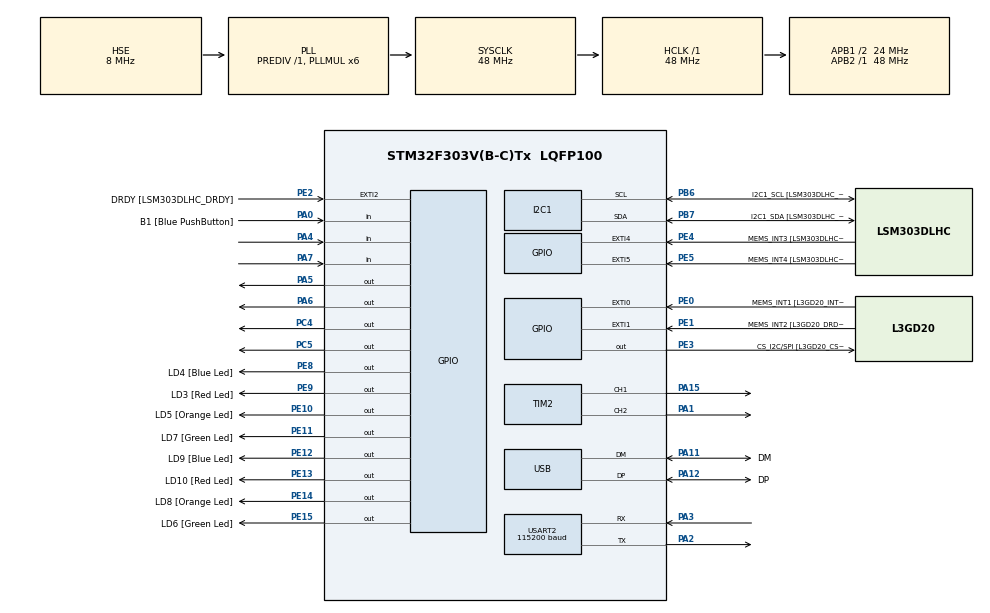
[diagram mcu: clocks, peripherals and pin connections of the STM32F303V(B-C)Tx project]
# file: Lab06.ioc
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I2C1.Timing=0x00201D2B
I2C1.Timing-I2C=0x2000090E
Mcu.Family=STM32F3
Mcu.Name=STM32F303V(B-C)Tx
Mcu.Package=LQFP100
NVIC.PriorityGroup=NVIC_PRIORITYGROUP_0
PA0.GPIO_Label=B1 [Blue PushButton]
PA0.Signal=GPIO_Input
PA1.Signal=S_TIM2_CH2
PA11.GPIO_Label=DM
PA11.Mode=Device
PA11.Signal=USB_DM
PA12.GPIO_Label=DP
PA12.Mode=Device
PA12.Signal=USB_DP
PA13.GPIO_Label=SWDIO
PA13.Mode=Serial_Wire
PA13.Signal=SYS_JTMS-SWDIO
PA14.GPIO_Label=SWCLK
PA14.Mode=Serial_Wire
PA14.Signal=SYS_JTCK-SWCLK
PA15.Signal=S_TIM2_CH1_ETR
PA2.Mode=Asynchronous
PA2.Signal=USART2_TX
PA3.Mode=Asynchronous
PA3.Signal=USART2_RX
PA4.GPIO_PuPd=GPIO_PULLUP
PA4.Signal=GPIO_Input
PA5.Signal=GPIO_Output
PA6.Signal=GPIO_Output
PA7.GPIO_PuPd=GPIO_PULLUP
PA7.Signal=GPIO_Input
PB3.GPIO_Label=SWO
PB3.Signal=SYS_JTDO-TRACESWO
PB6.GPIO_Label=I2C1_SCL [LSM303DLHC_SCL]
PB6.GPIO_Pu=GPIO_PULLUP
PB6.Mode=I2C
PB6.Signal=I2C1_SCL
PB7.GPIO_Label=I2C1_SDA [LSM303DLHC_SDA]
PB7.GPIO_Pu=GPIO_PULLUP
PB7.Mode=I2C
PB7.Signal=I2C1_SDA
PC14-OSC32_IN.GPIO_Label=OSC32_IN
PC14-OSC32_IN.Signal=RCC_OSC32_IN
PC15-OSC32_OUT.GPIO_Label=OSC32_OUT
PC15-OSC32_OUT.Signal=RCC_OSC32_OUT
PC4.Signal=GPIO_Output
PC5.Signal=GPIO_Output
PE0.GPIO_Label=MEMS_INT1 [L3GD20_INT1]
PE0.GPIO_ModeDefaultEXTI=GPIO_MODE_EVT_RISING
PE0.Signal=GPXTI0
PE1.GPIO_Label=MEMS_INT2 [L3GD20_DRDY/INT2]
PE1.GPIO_ModeDefaultEXTI=GPIO_MODE_EVT_RISING
PE1.Signal=GPXTI1
PE10.GPIO_Label=LD5 [Orange Led]
PE10.Signal=GPIO_Output
PE11.GPIO_Label=LD7 [Green Led]
PE11.Signal=GPIO_Output
PE12.GPIO_Label=LD9 [Blue Led]
PE12.Signal=GPIO_Output
PE13.GPIO_Label=LD10 [Red Led]
PE13.Signal=GPIO_Output
PE14.GPIO_Label=LD8 [Orange Led]
PE14.Signal=GPIO_Output
PE15.GPIO_Label=LD6 [Green Led]
PE15.Signal=GPIO_Output
PE2.GPIO_Label=DRDY [LSM303DLHC_DRDY]
PE2.GPIO_ModeDefaultEXTI=GPIO_MODE_EVT_RISING
PE2.Signal=GPXTI2
PE3.GPIO_Label=CS_I2C/SPI [L3GD20_CS_I2C/SPI]
PE3.Signal=GPIO_Output
PE4.GPIO_Label=MEMS_INT3 [LSM303DLHC_INT1]
PE4.GPIO_ModeDefaultEXTI=GPIO_MODE_EVT_RISING
PE4.Signal=GPXTI4
PE5.GPIO_Label=MEMS_INT4 [LSM303DLHC_INT2]
PE5.GPIO_ModeDefaultEXTI=GPIO_MODE_EVT_RISING
PE5.Signal=GPXTI5
PE8.GPIO_Label=LD4 [Blue Led]
PE8.Signal=GPIO_Output
PE9.GPIO_Label=LD3 [Red Led]
PE9.Signal=GPIO_Output
PF0-OSC_IN.GPIO_Label=OSC_IN
PF0-OSC_IN.Mode=HSE-External-Clock-Source
PF0-OSC_IN.Signal=RCC_OSC_IN
PF1-OSC_OUT.GPIO_Label=OSC_OUT
PF1-OSC_OUT.Signal=RCC_OSC_OUT
ProjectManager.HeapSize=0x200
ProjectManager.StackSize=0x400
ProjectManager.TargetToolchain=CMake
RCC.AHBFreq_Value=48000000
RCC.APB1CLKDivider=RCC_HCLK_DIV2
RCC.APB1Freq_Value=24000000
RCC.APB1TimFreq_Value=48000000
RCC.APB2Freq_Value=48000000
RCC.APB2TimFreq_Value=48000000
RCC.CortexFreq_Value=48000000
RCC.HCLKFreq_Value=48000000
RCC.HSE_VALUE=8000000
RCC.HSI_VALUE=8000000
RCC.LSE_VALUE=32768
RCC.PLLMUL=RCC_PLL_MUL6
RCC.SYSCLKFreq_VALUE=48000000
RCC.SYSCLKSourceVirtual=RCC_SYSCLKSOURCE_PLLCLK
RCC.USBFreq_Value=48000000
SH.S_TIM2_CH1_ETR.0=TIM2_CH1,PWM Generation1 CH1
SH.S_TIM2_CH2.0=TIM2_CH2,PWM Generation2 CH2
TIM2.Channel-PWM\ Generation1\ CH1=TIM_CHANNEL_1
TIM2.Channel-PWM\ Generation2\ CH2=TIM_CHANNEL_2
TIM3.Prescaler=47
USART2.BaudRate=115200
USART2.VirtualMode-Asynchronous=VM_ASYNC
VP_TIM3_VS_ClockSourceINT.Mode=Internal
board=STM32F3DISCOVERY

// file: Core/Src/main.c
/* USER CODE BEGIN Header */
/**
  ******************************************************************************
  * @file           : main.c
  * @brief          : Main program body
  ******************************************************************************
  * @attention
  *
  * Copyright (c) 2026 STMicroelectronics.
  * All rights reserved.
  *
  * This software is licensed under terms that can be found in the LICENSE file
  * in the root directory of this software component.
  * If no LICENSE file comes with this software, it is provided AS-IS.
  *
  ******************************************************************************
  */
/* USER CODE END Header */
#include "main.h"

/* USER CODE BEGIN Includes */
#include "stdio.h"
/* USER CODE END Includes */

/* USER CODE BEGIN PD */
#define PPR 20
/* USER CODE END PD */

I2C_HandleTypeDef hi2c1;

TIM_HandleTypeDef htim2;
TIM_HandleTypeDef htim3;

UART_HandleTypeDef huart2;

PCD_HandleTypeDef hpcd_USB_FS;

/* USER CODE BEGIN PV */

/* ============================================================
   TASK 4: Input Capture Variables
   ============================================================ */
volatile uint32_t ic_val1       = 0;   // First captured timer value
volatile uint32_t ic_val2       = 0;   // Second captured timer value
volatile uint8_t  ic_edge_count = 0;   // Counts how many edges have been captured
volatile uint8_t  ic_ready      = 0;   // Flag: 1 = two edges captured, RPM ready to calc

/* USER CODE END PV */

void SystemClock_Config(void);
static void MX_GPIO_Init(void);
static void MX_I2C1_Init(void);
static void MX_TIM2_Init(void);
static void MX_TIM3_Init(void);
static void MX_USART2_UART_Init(void);
static void MX_USB_PCD_Init(void);

/* USER CODE BEGIN 0 */

/* ============================================================
   TASK 3: Measure Motor Speed Using Encoder and POLLING
   ------------------------------------------------------------
   - Uses PA4 as encoder input (GPIO polling)
   - Uses TIM3 as microsecond timer (prescaler=47 @ 48MHz → 1 tick = 1us)
   - Detects two consecutive falling edges by polling
   - Calculates frequency and RPM
   - Prints RPM over UART2
   ============================================================ */

// --- TASK 3: Print RPM via UART (integer only, no floats) ---
void print_RPM(uint32_t rpm)
{
    char buffer[50];
    int len = sprintf(buffer, "Right Motor RPM: %lu\r\n", rpm);
    HAL_UART_Transmit(&huart2, (uint8_t*)buffer, len, HAL_MAX_DELAY);
}

// --- TASK 3: Read RPM using polling on PA4 (integer only, timeout-safe) ---
// Returns 0 if no signal is detected within 2 seconds (encoder not connected / wrong pin)
#define POLL_TIMEOUT_US 2000000UL  // 2 second timeout

uint32_t read_RPM(void)
{
    uint32_t ticks;
    uint32_t start;

    // Step 1: Wait for pin to go HIGH (known state), with timeout
    start = __HAL_TIM_GET_COUNTER(&htim3);
    while(HAL_GPIO_ReadPin(GPIOA, GPIO_PIN_4) == GPIO_PIN_RESET)
    {
        if((__HAL_TIM_GET_COUNTER(&htim3) - start) > POLL_TIMEOUT_US) return 0;
    }

    // Step 2: Wait for FIRST falling edge (HIGH -> LOW), with timeout
    start = __HAL_TIM_GET_COUNTER(&htim3);
    while(HAL_GPIO_ReadPin(GPIOA, GPIO_PIN_4) == GPIO_PIN_SET)
    {
        if((__HAL_TIM_GET_COUNTER(&htim3) - start) > POLL_TIMEOUT_US) return 0;
    }

    // Step 3: Reset counter at first falling edge
    __HAL_TIM_SET_COUNTER(&htim3, 0);

    // Step 4: Wait for pin to go HIGH again, with timeout
    start = __HAL_TIM_GET_COUNTER(&htim3);
    while(HAL_GPIO_ReadPin(GPIOA, GPIO_PIN_4) == GPIO_PIN_RESET)
    {
        if((__HAL_TIM_GET_COUNTER(&htim3) - start) > POLL_TIMEOUT_US) return 0;
    }

    // Step 5: Wait for SECOND falling edge (HIGH -> LOW), with timeout
    start = __HAL_TIM_GET_COUNTER(&htim3);
    while(HAL_GPIO_ReadPin(GPIOA, GPIO_PIN_4) == GPIO_PIN_SET)
    {
        if((__HAL_TIM_GET_COUNTER(&htim3) - start) > POLL_TIMEOUT_US) return 0;
    }

    // Step 6: Read ticks (1 tick = 1 us)
    ticks = __HAL_TIM_GET_COUNTER(&htim3);
    if(ticks == 0) ticks = 1; // prevent division by zero

    // RPM = 60,000,000 / (ticks * PPR)
    return (60000000UL / (ticks * PPR));
}

/* ============================================================
   TASK 4: Measure Motor Speed Using Encoder and INPUT CAPTURE
   ------------------------------------------------------------
   - TIM2 Channel 1 configured for Input Capture on PA0
     (connect encoder signal D4 to PA0 instead of PA4)
   - TIM2 prescaler set so 1 tick = 1us (prescaler = 47 @ 48MHz)
   - Rising edge interrupt fires on each pulse
   - ISR records two consecutive edge timestamps
   - Main loop calculates RPM from the difference
   NOTE: THIS TASK IS COMMENTED OUT. SEE TASK 3 ABOVE FOR ACTIVE CODE.
   ============================================================ */

/*
// --- TASK 4: Input Capture interrupt callback ---
// This function is called automatically by HAL every time TIM2 CH1 captures a rising edge
void HAL_TIM_IC_CaptureCallback(TIM_HandleTypeDef *htim)
{
    if (htim->Instance == TIM3 && htim->Channel == HAL_TIM_ACTIVE_CHANNEL_1)
    {
        if (ic_edge_count == 0)
        {
            ic_val1 = HAL_TIM_ReadCapturedValue(htim, TIM_CHANNEL_1);
            ic_edge_count = 1;
        }
        else if (ic_edge_count == 1)
        {
            ic_val2 = HAL_TIM_ReadCapturedValue(htim, TIM_CHANNEL_1);
            ic_edge_count = 0;
            ic_ready = 1;
        }
    }
}

// --- TASK 4: Calculate and print RPM from captured values ---
void calculate_and_print_RPM(void)
{
    uint32_t ticks;
    float frequency;
    int rpm_int;
    char buffer[50];

    if (ic_val2 > ic_val1)
        ticks = ic_val2 - ic_val1;
    else
        ticks = (65535 - ic_val1) + ic_val2 + 1;

    if (ticks == 0) ticks = 1;

    frequency = 1000000.0f / (float)ticks;
    rpm_int = (int)((60.0f * frequency) / PPR);

    int len = sprintf(buffer, "Right Motor RPM: %d\r\n", rpm_int);
    HAL_UART_Transmit(&huart2, (uint8_t*)buffer, len, HAL_MAX_DELAY);
}
*/

/* USER CODE END 0 */

int main(void)
{

  /* MCU Configuration--------------------------------------------------------*/

  /* Reset of all peripherals, Initializes the Flash interface and the Systick. */
  HAL_Init();

  /* Configure the system clock */
  SystemClock_Config();

  /* Initialize all configured peripherals */
  MX_GPIO_Init();
  MX_I2C1_Init();
  MX_TIM2_Init();
  MX_TIM3_Init();
  MX_USART2_UART_Init();
  MX_USB_PCD_Init();
  /* USER CODE BEGIN 2 */

  /* --- Motor Direction Setup --- */
  // Right motor direction (PA5 = forward, PA6 = reverse off)
  HAL_GPIO_WritePin(GPIOA, GPIO_PIN_5, GPIO_PIN_SET);
  HAL_GPIO_WritePin(GPIOA, GPIO_PIN_6, GPIO_PIN_RESET);

  // Left motor direction (PC4 = forward, PC5 = reverse off)
  HAL_GPIO_WritePin(GPIOC, GPIO_PIN_4, GPIO_PIN_SET);
  HAL_GPIO_WritePin(GPIOC, GPIO_PIN_5, GPIO_PIN_RESET);

  /* --- TASK 3: Start TIM3 for microsecond polling timer --- */
  HAL_TIM_Base_Start(&htim3);

  /* --- TASK 4: Start TIM2 Channel 1 Input Capture with Interrupt (COMMENTED OUT) --- */
  // HAL_TIM_IC_Start_IT(&htim2, TIM_CHANNEL_1);

  /* --- Motor PWM Start --- */
  HAL_TIM_PWM_Start(&htim2, TIM_CHANNEL_1); // Right motor PWM on CH1
  HAL_TIM_PWM_Start(&htim2, TIM_CHANNEL_2); // Left motor PWM on CH2

  /* --- Set PWM Duty Cycle (50%) --- */
  __HAL_TIM_SET_COMPARE(&htim2, TIM_CHANNEL_1, 2147483647); // 50% of max period
  __HAL_TIM_SET_COMPARE(&htim2, TIM_CHANNEL_2, 2147483647); // 50% of max period

  /* --- UART Test: confirms UART wiring is correct before entering loop --- */
  {
      char *msg = "UART OK - starting RPM loop\r\n";
      HAL_UART_Transmit(&huart2, (uint8_t*)msg, 29, HAL_MAX_DELAY);
  }

  /* USER CODE END 2 */

  /* Infinite loop */
  /* USER CODE BEGIN WHILE */
  while (1)
  {
      uint32_t rpm = read_RPM();
      if (rpm == 0)
      {
          // No encoder signal detected on PA4 within timeout -- wrong pin or no signal
          char *msg = "No signal on PA4 - check encoder wiring\r\n";
          HAL_UART_Transmit(&huart2, (uint8_t*)msg, 41, HAL_MAX_DELAY);
      }
      else
      {
          print_RPM(rpm);
      }
      HAL_Delay(500);
  }
    /* USER CODE END WHILE */

  }

void SystemClock_Config(void)
{
  RCC_OscInitTypeDef RCC_OscInitStruct = {0};
  RCC_ClkInitTypeDef RCC_ClkInitStruct = {0};
  RCC_PeriphCLKInitTypeDef PeriphClkInit = {0};

  /** Initializes the RCC Oscillators according to the specified parameters
  * in the RCC_OscInitTypeDef structure.
  */
  RCC_OscInitStruct.OscillatorType = RCC_OSCILLATORTYPE_HSI|RCC_OSCILLATORTYPE_HSE;
  RCC_OscInitStruct.HSEState = RCC_HSE_BYPASS;
  RCC_OscInitStruct.HSEPredivValue = RCC_HSE_PREDIV_DIV1;
  RCC_OscInitStruct.HSIState = RCC_HSI_ON;
  RCC_OscInitStruct.HSICalibrationValue = RCC_HSICALIBRATION_DEFAULT;
  RCC_OscInitStruct.PLL.PLLState = RCC_PLL_ON;
  RCC_OscInitStruct.PLL.PLLSource = RCC_PLLSOURCE_HSE;
  RCC_OscInitStruct.PLL.PLLMUL = RCC_PLL_MUL6;
  if (HAL_RCC_OscConfig(&RCC_OscInitStruct) != HAL_OK)
  {
    Error_Handler();
  }

  /** Initializes the CPU, AHB and APB buses clocks
  */
  RCC_ClkInitStruct.ClockType = RCC_CLOCKTYPE_HCLK|RCC_CLOCKTYPE_SYSCLK
                              |RCC_CLOCKTYPE_PCLK1|RCC_CLOCKTYPE_PCLK2;
  RCC_ClkInitStruct.SYSCLKSource = RCC_SYSCLKSOURCE_PLLCLK;
  RCC_ClkInitStruct.AHBCLKDivider = RCC_SYSCLK_DIV1;
  RCC_ClkInitStruct.APB1CLKDivider = RCC_HCLK_DIV2;
  RCC_ClkInitStruct.APB2CLKDivider = RCC_HCLK_DIV1;

  if (HAL_RCC_ClockConfig(&RCC_ClkInitStruct, FLASH_LATENCY_1) != HAL_OK)
  {
    Error_Handler();
  }
  PeriphClkInit.PeriphClockSelection = RCC_PERIPHCLK_USB|RCC_PERIPHCLK_USART2
                              |RCC_PERIPHCLK_I2C1;
  PeriphClkInit.Usart2ClockSelection = RCC_USART2CLKSOURCE_PCLK1;
  PeriphClkInit.I2c1ClockSelection = RCC_I2C1CLKSOURCE_HSI;
  PeriphClkInit.USBClockSelection = RCC_USBCLKSOURCE_PLL;
  if (HAL_RCCEx_PeriphCLKConfig(&PeriphClkInit) != HAL_OK)
  {
    Error_Handler();
  }
}

static void MX_I2C1_Init(void)
{

  hi2c1.Instance = I2C1;
  hi2c1.Init.Timing = 0x00201D2B;
  hi2c1.Init.OwnAddress1 = 0;
  hi2c1.Init.AddressingMode = I2C_ADDRESSINGMODE_7BIT;
  hi2c1.Init.DualAddressMode = I2C_DUALADDRESS_DISABLE;
  hi2c1.Init.OwnAddress2 = 0;
  hi2c1.Init.OwnAddress2Masks = I2C_OA2_NOMASK;
  hi2c1.Init.GeneralCallMode = I2C_GENERALCALL_DISABLE;
  hi2c1.Init.NoStretchMode = I2C_NOSTRETCH_DISABLE;
  if (HAL_I2C_Init(&hi2c1) != HAL_OK)
  {
    Error_Handler();
  }

  /** Configure Analogue filter
  */
  if (HAL_I2CEx_ConfigAnalogFilter(&hi2c1, I2C_ANALOGFILTER_ENABLE) != HAL_OK)
  {
    Error_Handler();
  }

  /** Configure Digital filter
  */
  if (HAL_I2CEx_ConfigDigitalFilter(&hi2c1, 0) != HAL_OK)
  {
    Error_Handler();
  }

}

static void MX_TIM2_Init(void)
{

  TIM_MasterConfigTypeDef sMasterConfig = {0};
  TIM_OC_InitTypeDef sConfigOC = {0};

  htim2.Instance = TIM2;
  htim2.Init.Prescaler = 0;
  htim2.Init.CounterMode = TIM_COUNTERMODE_UP;
  htim2.Init.Period = 4294967295;
  htim2.Init.ClockDivision = TIM_CLOCKDIVISION_DIV1;
  htim2.Init.AutoReloadPreload = TIM_AUTORELOAD_PRELOAD_DISABLE;
  if (HAL_TIM_PWM_Init(&htim2) != HAL_OK)
  {
    Error_Handler();
  }
  sMasterConfig.MasterOutputTrigger = TIM_TRGO_RESET;
  sMasterConfig.MasterSlaveMode = TIM_MASTERSLAVEMODE_DISABLE;
  if (HAL_TIMEx_MasterConfigSynchronization(&htim2, &sMasterConfig) != HAL_OK)
  {
    Error_Handler();
  }
  sConfigOC.OCMode = TIM_OCMODE_PWM1;
  sConfigOC.Pulse = 0;
  sConfigOC.OCPolarity = TIM_OCPOLARITY_HIGH;
  sConfigOC.OCFastMode = TIM_OCFAST_DISABLE;
  if (HAL_TIM_PWM_ConfigChannel(&htim2, &sConfigOC, TIM_CHANNEL_1) != HAL_OK)
  {
    Error_Handler();
  }
  if (HAL_TIM_PWM_ConfigChannel(&htim2, &sConfigOC, TIM_CHANNEL_2) != HAL_OK)
  {
    Error_Handler();
  }
  HAL_TIM_MspPostInit(&htim2);

}

static void MX_TIM3_Init(void)
{

  TIM_ClockConfigTypeDef sClockSourceConfig = {0};
  TIM_MasterConfigTypeDef sMasterConfig = {0};
  TIM_IC_InitTypeDef sConfigIC = {0};

  htim3.Instance = TIM3;
  htim3.Init.Prescaler = 47;
  htim3.Init.CounterMode = TIM_COUNTERMODE_UP;
  htim3.Init.Period = 65535;
  htim3.Init.ClockDivision = TIM_CLOCKDIVISION_DIV1;
  htim3.Init.AutoReloadPreload = TIM_AUTORELOAD_PRELOAD_DISABLE;
  if (HAL_TIM_Base_Init(&htim3) != HAL_OK)
  {
    Error_Handler();
  }
  sClockSourceConfig.ClockSource = TIM_CLOCKSOURCE_INTERNAL;
  if (HAL_TIM_ConfigClockSource(&htim3, &sClockSourceConfig) != HAL_OK)
  {
    Error_Handler();
  }
  if (HAL_TIM_IC_Init(&htim3) != HAL_OK)
  {
    Error_Handler();
  }
  sMasterConfig.MasterOutputTrigger = TIM_TRGO_RESET;
  sMasterConfig.MasterSlaveMode = TIM_MASTERSLAVEMODE_DISABLE;
  if (HAL_TIMEx_MasterConfigSynchronization(&htim3, &sMasterConfig) != HAL_OK)
  {
    Error_Handler();
  }
  sConfigIC.ICPolarity = TIM_INPUTCHANNELPOLARITY_RISING;
  sConfigIC.ICSelection = TIM_ICSELECTION_DIRECTTI;
  sConfigIC.ICPrescaler = TIM_ICPSC_DIV1;
  sConfigIC.ICFilter = 0;
  if (HAL_TIM_IC_ConfigChannel(&htim3, &sConfigIC, TIM_CHANNEL_1) != HAL_OK)
  {
    Error_Handler();
  }

}

static void MX_USART2_UART_Init(void)
{

  huart2.Instance = USART2;
  huart2.Init.BaudRate = 115200;
  huart2.Init.WordLength = UART_WORDLENGTH_8B;
  huart2.Init.StopBits = UART_STOPBITS_1;
  huart2.Init.Parity = UART_PARITY_NONE;
  huart2.Init.Mode = UART_MODE_TX_RX;
  huart2.Init.HwFlowCtl = UART_HWCONTROL_NONE;
  huart2.Init.OverSampling = UART_OVERSAMPLING_16;
  huart2.Init.OneBitSampling = UART_ONE_BIT_SAMPLE_DISABLE;
  huart2.AdvancedInit.AdvFeatureInit = UART_ADVFEATURE_NO_INIT;
  if (HAL_UART_Init(&huart2) != HAL_OK)
  {
    Error_Handler();
  }

}

static void MX_USB_PCD_Init(void)
{

  hpcd_USB_FS.Instance = USB;
  hpcd_USB_FS.Init.dev_endpoints = 8;
  hpcd_USB_FS.Init.speed = PCD_SPEED_FULL;
  hpcd_USB_FS.Init.phy_itface = PCD_PHY_EMBEDDED;
  hpcd_USB_FS.Init.low_power_enable = DISABLE;
  hpcd_USB_FS.Init.battery_charging_enable = DISABLE;
  if (HAL_PCD_Init(&hpcd_USB_FS) != HAL_OK)
  {
    Error_Handler();
  }

}

static void MX_GPIO_Init(void)
{
  GPIO_InitTypeDef GPIO_InitStruct = {0};

  /* GPIO Ports Clock Enable */
  __HAL_RCC_GPIOE_CLK_ENABLE();
  __HAL_RCC_GPIOC_CLK_ENABLE();
  __HAL_RCC_GPIOF_CLK_ENABLE();
  __HAL_RCC_GPIOA_CLK_ENABLE();
  __HAL_RCC_GPIOB_CLK_ENABLE();

  /*Configure GPIO pin Output Level */
  HAL_GPIO_WritePin(GPIOE, CS_I2C_SPI_Pin|LD4_Pin|LD3_Pin|LD5_Pin
                          |LD7_Pin|LD9_Pin|LD10_Pin|LD8_Pin
                          |LD6_Pin, GPIO_PIN_RESET);

  /*Configure GPIO pin Output Level */
  HAL_GPIO_WritePin(GPIOA, GPIO_PIN_5|GPIO_PIN_6, GPIO_PIN_RESET);

  /*Configure GPIO pin Output Level */
  HAL_GPIO_WritePin(GPIOC, GPIO_PIN_4|GPIO_PIN_5, GPIO_PIN_RESET);

  /*Configure GPIO pins : DRDY_Pin MEMS_INT3_Pin MEMS_INT4_Pin MEMS_INT1_Pin
                           MEMS_INT2_Pin */
  GPIO_InitStruct.Pin = DRDY_Pin|MEMS_INT3_Pin|MEMS_INT4_Pin|MEMS_INT1_Pin
                          |MEMS_INT2_Pin;
  GPIO_InitStruct.Mode = GPIO_MODE_EVT_RISING;
  GPIO_InitStruct.Pull = GPIO_NOPULL;
  HAL_GPIO_Init(GPIOE, &GPIO_InitStruct);

  /*Configure GPIO pins : CS_I2C_SPI_Pin LD4_Pin LD3_Pin LD5_Pin
                           LD7_Pin LD9_Pin LD10_Pin LD8_Pin
                           LD6_Pin */
  GPIO_InitStruct.Pin = CS_I2C_SPI_Pin|LD4_Pin|LD3_Pin|LD5_Pin
                          |LD7_Pin|LD9_Pin|LD10_Pin|LD8_Pin
                          |LD6_Pin;
  GPIO_InitStruct.Mode = GPIO_MODE_OUTPUT_PP;
  GPIO_InitStruct.Pull = GPIO_NOPULL;
  GPIO_InitStruct.Speed = GPIO_SPEED_FREQ_LOW;
  HAL_GPIO_Init(GPIOE, &GPIO_InitStruct);

  /*Configure GPIO pin : B1_Pin */
  GPIO_InitStruct.Pin = B1_Pin;
  GPIO_InitStruct.Mode = GPIO_MODE_INPUT;
  GPIO_InitStruct.Pull = GPIO_NOPULL;
  HAL_GPIO_Init(B1_GPIO_Port, &GPIO_InitStruct);

  /*Configure GPIO pins : PA4 PA7 */
  GPIO_InitStruct.Pin = GPIO_PIN_4|GPIO_PIN_7;
  GPIO_InitStruct.Mode = GPIO_MODE_INPUT;
  GPIO_InitStruct.Pull = GPIO_PULLUP;
  HAL_GPIO_Init(GPIOA, &GPIO_InitStruct);

  /*Configure GPIO pins : PA5 PA6 */
  GPIO_InitStruct.Pin = GPIO_PIN_5|GPIO_PIN_6;
  GPIO_InitStruct.Mode = GPIO_MODE_OUTPUT_PP;
  GPIO_InitStruct.Pull = GPIO_NOPULL;
  GPIO_InitStruct.Speed = GPIO_SPEED_FREQ_LOW;
  HAL_GPIO_Init(GPIOA, &GPIO_InitStruct);

  /*Configure GPIO pins : PC4 PC5 */
  GPIO_InitStruct.Pin = GPIO_PIN_4|GPIO_PIN_5;
  GPIO_InitStruct.Mode = GPIO_MODE_OUTPUT_PP;
  GPIO_InitStruct.Pull = GPIO_NOPULL;
  GPIO_InitStruct.Speed = GPIO_SPEED_FREQ_LOW;
  HAL_GPIO_Init(GPIOC, &GPIO_InitStruct);

}

void Error_Handler(void)
{
  __disable_irq();
  while (1)
  {
  }
}
